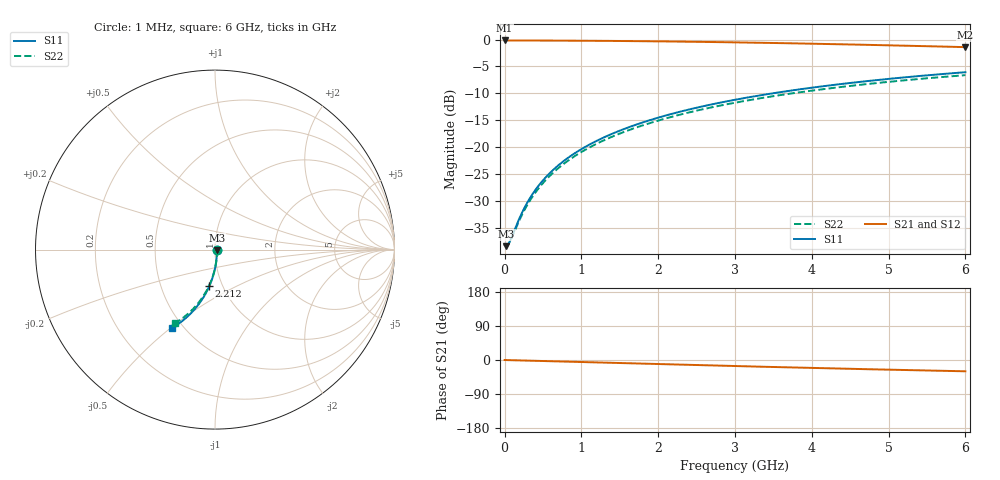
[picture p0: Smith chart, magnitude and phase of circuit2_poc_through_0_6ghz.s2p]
! Extracted parasitic 2-port; ideal lumped components from handwritten schematic.
! Port1=left, Port2=right; 0..6GHz at 1MHz; Zref=50Ohm.
# Hz S RI R 50
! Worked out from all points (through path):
!   6000 points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, 1 MHz to 6 GHz, reference 50 ohm
!   highest |S21| = -0.16 dB at 1 MHz (marker M1); lowest = -1.4 dB at 6 GHz (marker M2)
!   group delay of S21, straight-line fit = 13.9 ps
!   lowest |S11| = -38.4 dB at 23 MHz (marker M3), VSWR 1.02, Z = 51.2 - j0.279 ohm
!   |S11| at or under -10 dB: start of sweep to 3.488 GHz
!   |S22| runs from -38.3 to -6.6 dB; largest |S21 - S12| = 1e-14
!   S11 on the Smith chart (normalised r, x): 1 MHz: 1.02, -0.00; 2.212 GHz: 0.86, -0.37; 6 GHz: 0.44, -0.51
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1000000  0.0123 -0.000151  0.9814 -0.000146  0.9814 -0.000146  0.0125 -0.000141
2.3e7  0.0117 -0.00273  0.9808 -0.00264  0.9808 -0.00264  0.0119 -0.00256
4.8e7  0.0114 -0.00499  0.9805 -0.00484  0.9805 -0.00484  0.0116 -0.00469
7.6e7  0.0113 -0.00758  0.9804 -0.00735  0.9804 -0.00735  0.0115 -0.00713
1.95e8  0.0109 -0.0189  0.98 -0.0183  0.98 -0.0183  0.0112 -0.0178
2.77e8  0.0106 -0.0268  0.9797 -0.026  0.9797 -0.026  0.0109 -0.0252
3.55e8  0.0101 -0.0343  0.9793 -0.0333  0.9793 -0.0333  0.0104 -0.0322
4.42e8  0.00947 -0.0427  0.9786 -0.0413  0.9786 -0.0413  0.00983 -0.0401
5.57e8  0.00841 -0.0537  0.9776 -0.052  0.9776 -0.052  0.00884 -0.0504
6.88e8  0.00692 -0.0662  0.9762 -0.0642  0.9762 -0.0642  0.00744 -0.0622
8.35e8  0.00488 -0.0801  0.9742 -0.0777  0.9742 -0.0777  0.00552 -0.0753
1.001e9  0.00211 -0.0958  0.9715 -0.0929  0.9715 -0.0929  0.00292 -0.09
1.21e9  -0.00206 -0.1153  0.9675 -0.1118  0.9675 -0.1118  -0.001 -0.1084
1.446e9  -0.00765 -0.137  0.962 -0.1329  0.962 -0.1329  -0.00626 -0.1288
1.709e9  -0.015 -0.1608  0.9549 -0.1559  0.9549 -0.1559  -0.0131 -0.1511
2.001e9  -0.0244 -0.1864  0.9458 -0.1807  0.9458 -0.1807  -0.022 -0.1752
2.212e9  -0.0319 -0.2045  0.9385 -0.1983  0.9385 -0.1983  -0.0291 -0.1922
2.587e9  -0.0469 -0.2355  0.924 -0.2283  0.924 -0.2283  -0.0431 -0.2213
3.001e9  -0.0655 -0.2678  0.906 -0.2596  0.906 -0.2596  -0.0606 -0.2517
4.001e9  -0.1176 -0.3372  0.8555 -0.3269  0.8555 -0.3269  -0.1095 -0.3169
5.001e9  -0.1765 -0.3933  0.7983 -0.3812  0.7983 -0.3812  -0.165 -0.3696
6e9  -0.2387 -0.4362  0.7381 -0.4229  0.7381 -0.4229  -0.2234 -0.41
